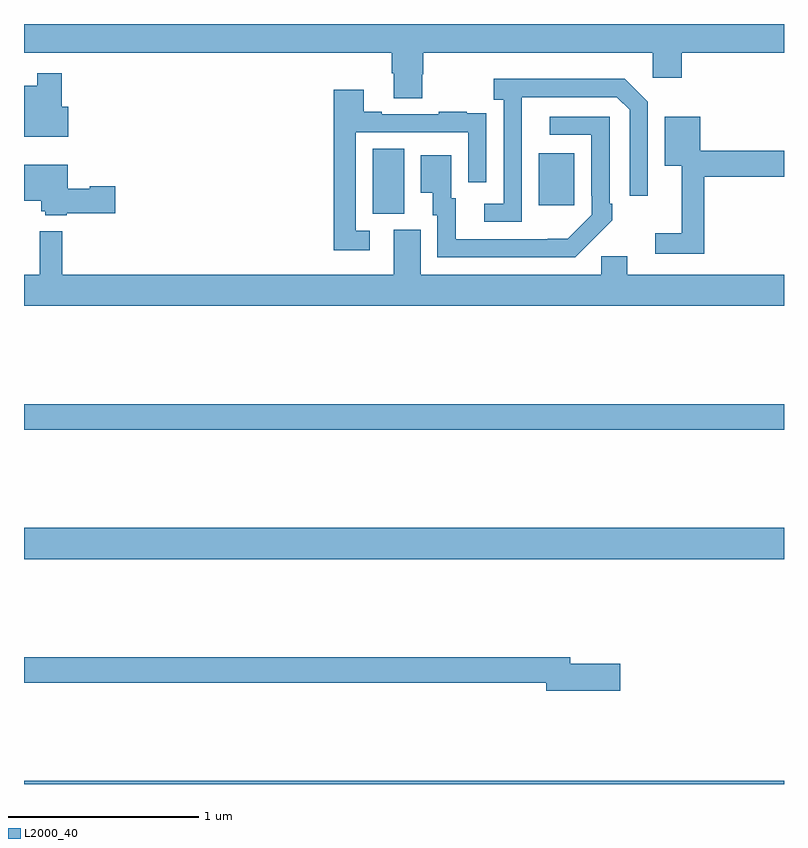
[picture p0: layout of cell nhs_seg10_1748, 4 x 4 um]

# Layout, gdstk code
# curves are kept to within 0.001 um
import gdstk
lib = gdstk.Library(unit=1e-6, precision=1e-09)
def R(c, l, rs):  # rectangles x0, y0, x1, y1
    for r in rs: c.add(gdstk.rectangle(r[:2], r[2:], *l))
def P(c, l, *ps):  # polygons
    for p in ps: c.add(gdstk.Polygon(p, *l))
L2000_40 = (2000, 40)

nhs_seg10_1748 = lib.new_cell('nhs_seg10_1748')
R(nhs_seg10_1748, L2000_40, [(203,1264.5,207,1264.516), (203,1265.684,207,1265.848), (203,1266.364,207,1266.5), (204.836,1267.501,205,1267.844), (205.709,1267.545,205.897,1267.819)])
P(nhs_seg10_1748, L2000_40, [(205.095,1268.235),(205.1,1268.235),(205.1,1268.348),(206.31,1268.348),(206.31,1268.217),(206.462,1268.217),(206.462,1268.348),(207,1268.348),(207,1268.5),(203,1268.5),(203,1268.348),(204.935,1268.348),(204.935,1268.242),(204.947,1268.242),(204.947,1268.11),(205.095,1268.11)],
  [(203.233,1268.065),(203.198,1268.065),(203.198,1268.242),(203.07,1268.242),(203.07,1268.176),(203,1268.176),(203,1267.907),(203.233,1267.907)],
  [(205.62,1267.915),(205.621,1268.115),(206.121,1268.115),(206.187,1268.049),(206.187,1267.596),(206.283,1267.596),(206.283,1268.091),(206.162,1268.212),(205.473,1268.212),(205.473,1268.102),(205.524,1268.102),(205.524,1267.554),(205.422,1267.554),(205.422,1267.458),(205.62,1267.458)],
  [(204.82,1267.413),(204.747,1267.413),(204.747,1267.929),(205.338,1267.929),(205.338,1267.668),(205.434,1267.668),(205.434,1267.922),(205.433,1267.922),(205.433,1268.031),(205.331,1268.031),(205.331,1268.038),(205.183,1268.038),(205.183,1268.025),(204.883,1268.025),(204.883,1268.038),(204.787,1268.038),(204.787,1268.155),(204.631,1268.155),(204.631,1267.308),(204.82,1267.308)],
  [(205.991,1267.363),(205.992,1267.362),(206.097,1267.467),(206.097,1267.555),(206.082,1267.555),(206.082,1268.013),(205.767,1268.013),(205.767,1267.917),(205.986,1267.917),(205.986,1267.597),(205.989,1267.597),(205.989,1267.497),(205.861,1267.369),(205.273,1267.368),(205.273,1267.584),(205.249,1267.584),(205.249,1267.81),(205.088,1267.81),(205.088,1267.613),(205.151,1267.613),(205.151,1267.494),(205.176,1267.494),(205.176,1267.272),(205.9,1267.272)],
  [(206.579,1267.696),(207,1267.696),(207,1267.832),(206.559,1267.832),(206.559,1268.011),(206.372,1268.011),(206.372,1267.754),(206.462,1267.754),(206.462,1267.399),(206.322,1267.399),(206.322,1267.29),(206.579,1267.29)],
  [(203.226,1267.504),(203.479,1267.504),(203.479,1267.646),(203.346,1267.646),(203.346,1267.633),(203.23,1267.633),(203.23,1267.759),(203,1267.759),(203,1267.571),(203.09,1267.571),(203.09,1267.515),(203.112,1267.515),(203.112,1267.493),(203.226,1267.493)],
  [(207,1267.18),(206.176,1267.18),(206.176,1267.278),(206.037,1267.278),(206.037,1267.18),(205.087,1267.18),(205.087,1267.416),(204.947,1267.416),(204.947,1267.18),(203.201,1267.18),(203.201,1267.408),(203.084,1267.408),(203.084,1267.18),(203,1267.18),(203,1267.016),(207,1267.016)],
  [(206.137,1265.132),(205.876,1265.132),(205.876,1265.168),(203,1265.168),(203,1265.032),(205.748,1265.032),(205.748,1264.99),(206.137,1264.99)])

lib.write_gds('nhs_seg10_1748.gds')
